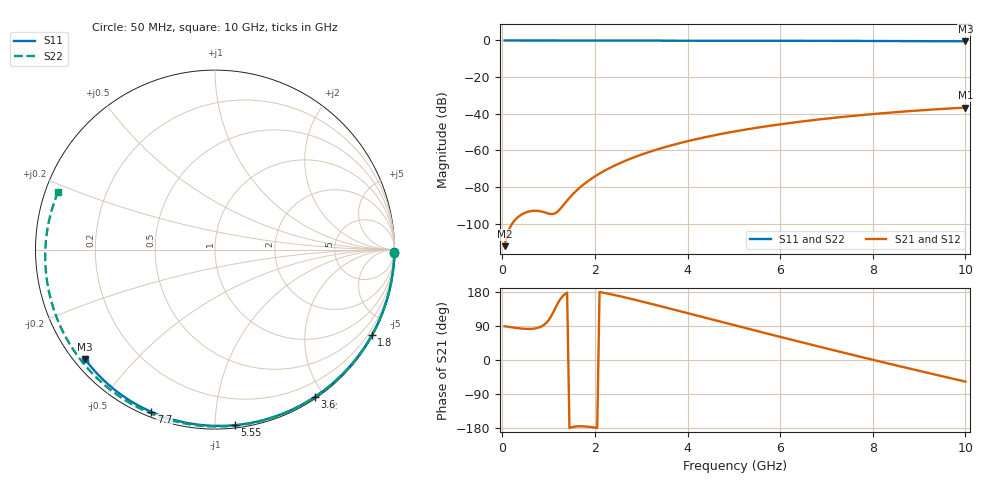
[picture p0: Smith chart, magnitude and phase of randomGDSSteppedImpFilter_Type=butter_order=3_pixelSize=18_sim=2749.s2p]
! freq	dB(S11)	phase(S11)	dB(S12)	phase(S12)
!  dB(S21)	phase(S21)	dB(S22)	phase(S22)
!S-par simulation data
#  GHz  S  DB  R 50
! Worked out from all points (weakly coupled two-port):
!   200 points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, 50 MHz to 10 GHz, reference 50 ohm
!   highest |S21| = -36.59 dB at 10 GHz (marker M1); lowest = -112.2 dB at 50 MHz (marker M2)
!   lowest |S11| = -0.5 dB at 10 GHz (marker M3), VSWR 36.71, Z = 1.54 - j18.3 ohm
!   |S11| at or under -10 dB: nowhere
!   |S22| runs from -0.6 to 0.0 dB; largest |S21 - S12| = 0
!   S11 on the Smith chart (normalised r, x): 50 MHz: open; 1.8 GHz: 0.03, -3.91; 3.6 GHz: 0.02, -1.88; 5.55 GHz: 0.02, -1.12; 7.7 GHz: 0.02, -0.68; 10 GHz: 0.03, -0.37
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0.05  -0.00 -0.8  -112.17 89.1  -112.17 89.1  -0.00 -1.2
0.4  -0.01 -6.5  -95.16 83.2  -95.16 83.2  -0.01 -9.2
0.8  -0.02 -12.9  -93.02 86.2  -93.02 86.2  -0.02 -18.3
1.2  -0.02 -19.2  -93.18 150.0  -93.18 150.0  -0.03 -27.3
1.65  -0.03 -26.3  -80.74 -174.9  -80.74 -174.9  -0.05 -37.3
1.7  -0.03 -27.1  -79.65 -174.9  -79.65 -174.9  -0.05 -38.4
1.75  -0.04 -27.9  -78.61 -175.1  -78.61 -175.1  -0.05 -39.5
1.8  -0.04 -28.7  -77.62 -175.5  -77.62 -175.5  -0.05 -40.6
2.1  -0.04 -33.3  -72.56 179.5  -72.56 179.5  -0.06 -47.1
2.5  -0.05 -39.5  -67.34 169.4  -67.34 169.4  -0.07 -55.7
2.9  -0.06 -45.6  -63.20 157.8  -63.20 157.8  -0.08 -64.1
3.4  -0.07 -53.1  -58.99 142.5  -58.99 142.5  -0.10 -74.4
3.6  -0.08 -56.0  -57.54 136.3  -57.54 136.3  -0.10 -78.4
4.3  -0.09 -66.1  -53.18 114.2  -53.18 114.2  -0.13 -92.3
5.05  -0.12 -76.7  -49.46 90.6  -49.46 90.6  -0.16 -106.6
5.55  -0.14 -83.5  -47.38 75.0  -47.38 75.0  -0.19 -116.0
6.1  -0.16 -90.9  -45.38 57.9  -45.38 57.9  -0.22 -126.1
6.7  -0.19 -98.7  -43.47 39.5  -43.47 39.5  -0.26 -137.0
7.7  -0.26 -111.5  -40.83 9.5  -40.83 9.5  -0.35 -155.3
8.35  -0.31 -119.6  -39.39 -9.7  -39.39 -9.7  -0.41 -167.4
9.2  -0.39 -130.0  -37.81 -34.3  -37.81 -34.3  -0.51 176.2
10  -0.47 -139.7  -36.59 -57.0  -36.59 -57.0  -0.62 159.8
